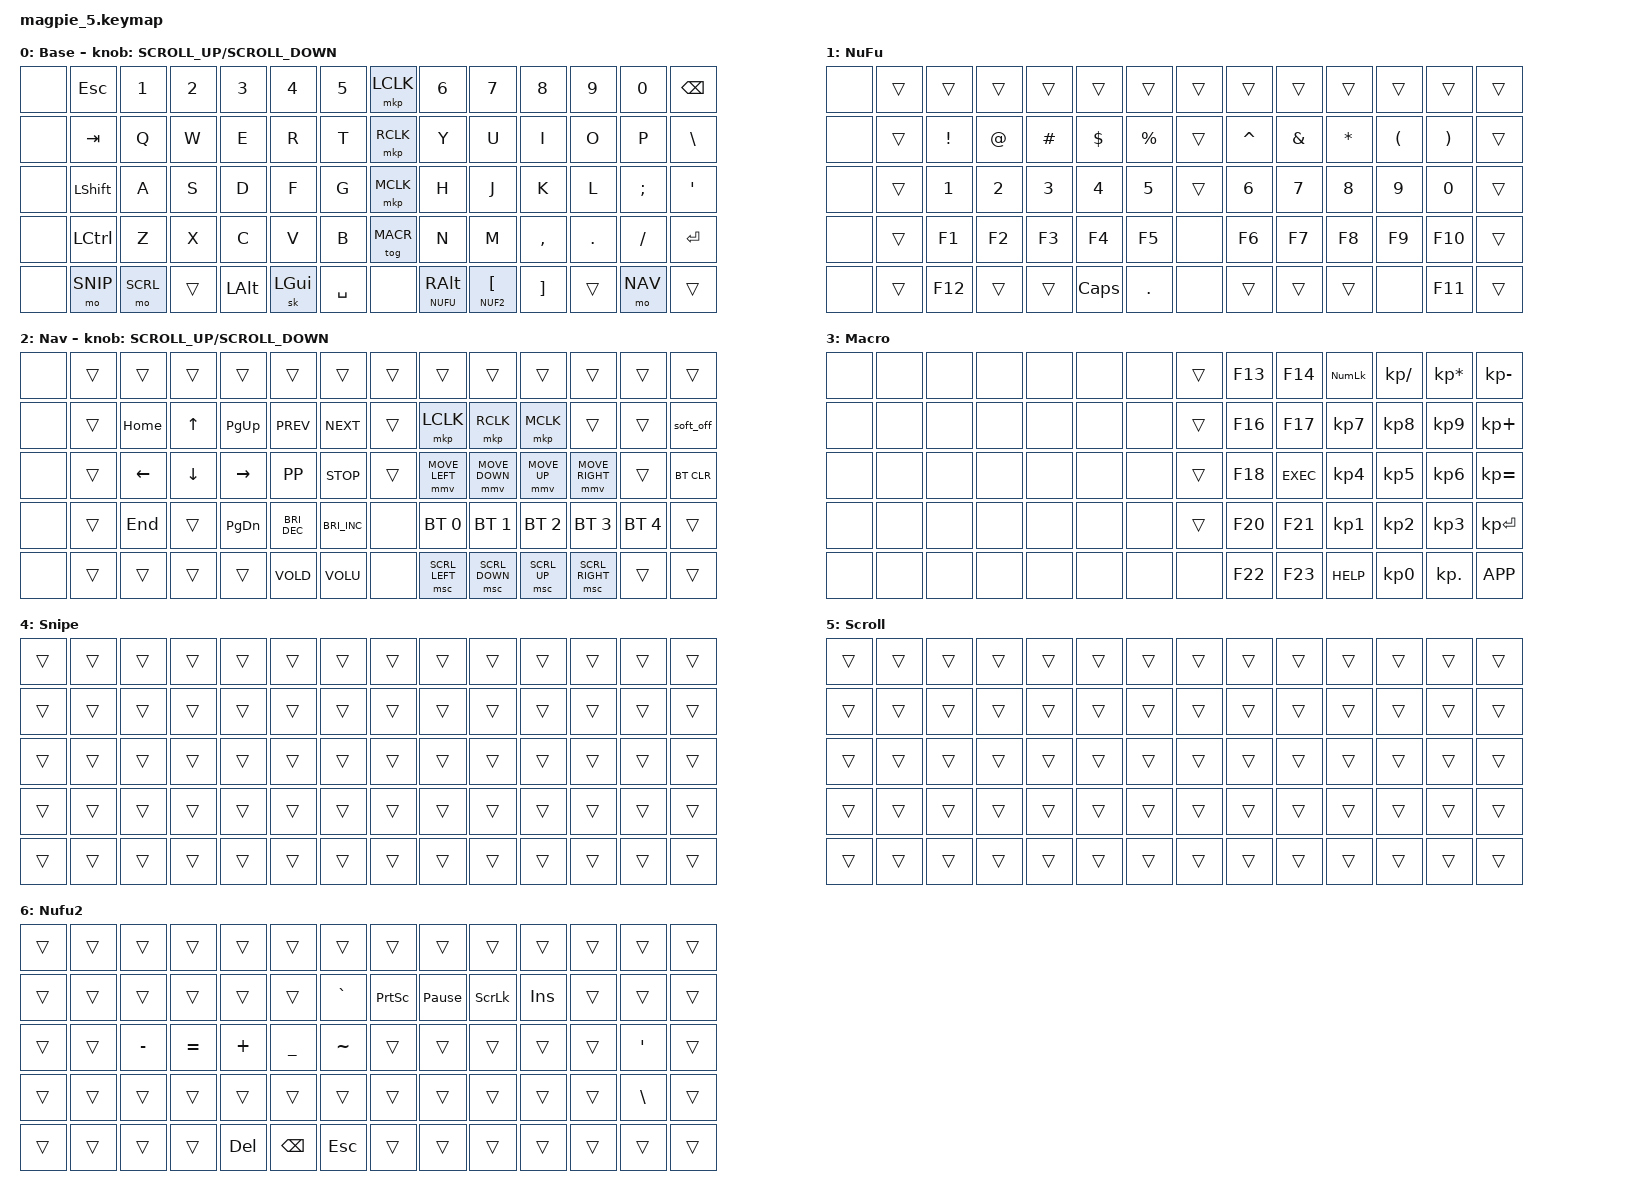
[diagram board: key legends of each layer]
// This file was generated from a template. Edit it to match your keyboard.
// See https://zmk.dev/docs/development/hardware-integration/new-shield for more instructions.


#include <behaviors.dtsi>
#include <dt-bindings/zmk/bt.h>
#include <dt-bindings/zmk/keys.h>

#include <dt-bindings/zmk/mouse.h>
#include <behaviors/mouse_keys.dtsi>

#define BASE 0
#define NUFU 1
#define NAV  2
#define MACR 3
#define SNIP 4
#define SCRL 5
#define NUF2 6

//Shortened key definitions
#define NF1 &lt NUFU RALT
#define NF2 &lt NUF2 LBKT
#define sft &soft_off

#define mlft &mmv MOVE_LEFT
#define mrgt &mmv MOVE_RIGHT
#define mup  &mmv MOVE_UP
#define mdwn &mmv MOVE_DOWN
#define btclr &bt BT_CLR
#define btcall &bt BT_CLR_ALL

#define bt0 &bt BT_SEL 0
#define bt1 &bt BT_SEL 1
#define bt2 &bt BT_SEL 2
#define bt3 &bt BT_SEL 3
#define bt4 &bt BT_SEL 4

#define mscup &msc SCRL_UP
#define mscdn &msc SCRL_DOWN
#define msclft &msc SCRL_LEFT
#define mscrgt &msc SCRL_RIGHT

#define BCKP BACKSPACE
#define DELT DELETE
#define SMCL SEMICOLON
#define COMM COMMA
#define SLSH SLASH
#define ENTR ENTER
#define GRV GRAVE
#define SPCE SPACE

#define PRCN PRCNT
#define CART CARET
#define MINS MINUS
#define EQUL EQUAL
#define UNDR UNDER

#define PEUP PAGE_UP
#define PEDN PAGE_DOWN
#define PREV K_PREV
#define NEXT K_NEXT
#define RGHT RIGHT
#define STOP C_STOP

#define BRDN C_BRI_DEC
#define BRUP C_BRI_INC

&sl {
	release-after-ms = <250>;
};

&mt {
	tapping-term-ms = <200>;
	require-prior-idle-ms = <150>;
};

&msc {
	acceleration-exponent = <1>;      // 0
	time-to-max-speed-ms = <40>;      // 500
	delay-ms = <0>;                   // 10
};

&soft_off {
	hold-time-ms = <2000>; // Only turn off it the key is held for 2 seconds or longer.
};

/ {
	combos
	{
		compatible = "zmk,combos";
		combo_enter {
			timeout-ms = <50>;
			key-positions = <62 64>;
			bindings = <&kp ENTER>;
		};
		combo_alt_enter {
			timeout-ms = <50>;
			key-positions = <60 64>;
			bindings = <&kp LA(ENTER)>;
		};
		combo_tab {
			timeout-ms = <50>;
			key-positions = <33 37>;
			bindings = <&kp TAB>;
		};
		combo_ctrl {
			timeout-ms = <50>;
			key-positions = <30 40>;
			bindings = <&sk LCTRL>;
		};
		combo_shift {
			timeout-ms = <50>;
			key-positions = <31 39>;
			bindings = <&sk LSHFT>;
		};
		combo_alt {
			timeout-ms = <50>;
			key-positions = <32 38>;
			bindings = <&sk LALT>;
		};
	};
	
	keymap {
		compatible = "zmk,keymap";

		Base {
			bindings = <
			&none &kp ESC   &kp N1   &kp N2 &kp N3   &kp N4   &kp N5      &mkp LCLK &kp N6 &kp N7 &kp N8   &kp N9  &kp N0   &kp BCKP
			&none &kp TAB   &kp Q    &kp W  &kp E    &kp R    &kp T       &mkp RCLK &kp Y  &kp U  &kp I    &kp O   &kp P    &kp BSLH
			&none &kp LSHFT &kp A    &kp S  &kp D    &kp F    &kp G       &mkp MCLK &kp H  &kp J  &kp K    &kp L   &kp SMCL &kp APOS
			&none &kp LCTRL &kp Z    &kp X  &kp C    &kp V    &kp B       &tog MACR &kp N  &kp M  &kp COMM &kp DOT &kp SLSH &kp ENTR
			&none &mo SNIP  &mo SCRL &trans &kp LALT &sk LGUI &kp SPCE    &none     NF1    NF2    &kp RBKT &trans     &mo NAV  &trans
			>;
			sensor-bindings = <&inc_dec_kp K_SCROLL_UP K_SCROLL_DOWN>;
		};
		
		NuFu {
			bindings = <
			&none &trans  &trans   &trans &trans   &trans   &trans     &trans &trans   &trans    &trans   &trans   &trans   &trans
			&none &trans  &kp EXCL &kp AT &kp HASH &kp DLLR &kp PRCN   &trans &kp CART &kp AMPS  &kp STAR &kp LPAR &kp RPAR &trans
			&none &trans  &kp N1   &kp N2 &kp N3   &kp N4   &kp N5     &trans &kp N6   &kp N7    &kp N8   &kp N9   &kp N0   &trans
			&none &trans  &kp F1   &kp F2 &kp F3   &kp F4   &kp F5     &none  &kp F6   &kp F7    &kp F8   &kp F9   &kp F10  &trans
			&none &trans  &kp F12  &trans &trans   &kp CAPS &kp DOT    &none  &trans   &trans    &trans   &none    &kp F11  &trans
			>;
		};
		
		Nav {
			bindings = <
			&none &trans &trans   &trans   &trans   &trans   &trans    &trans &trans    &trans    &trans    &trans &trans &trans
			&none &trans &kp HOME &kp UP   &kp PEUP &kp PREV &kp NEXT  &trans &mkp LCLK &mkp RCLK &mkp MCLK &trans &trans sft
			&none &trans &kp LEFT &kp DOWN &kp RGHT &kp K_PP &kp STOP  &trans mlft      mdwn      mup       mrgt   &trans btclr
			&none &trans &kp END  &trans   &kp PEDN &kp BRDN &kp BRUP  &none  bt0       bt1       bt2       bt3    bt4    &trans
			&none &trans &trans   &trans   &trans   &kp VOLD &kp VOLU  &none  msclft    mscdn     mscup     mscrgt &trans &trans
			>;
			sensor-bindings = <&inc_dec_kp K_SCROLL_UP K_SCROLL_DOWN>;
		};
		
		Macro {
			bindings = <
			&none &none &none &none &none &none &none   &trans &kp F13 &kp F14    &kp KP_NUM &kp KP_SLASH &kp KP_MULTIPLY &kp KP_MINUS
			&none &none &none &none &none &none &none   &trans &kp F16 &kp F17    &kp KP_N7  &kp KP_N8    &kp KP_N9       &kp KP_PLUS
			&none &none &none &none &none &none &none   &trans &kp F18 &kp K_EXEC &kp KP_N4  &kp KP_N5    &kp KP_N6       &kp KP_EQUAL
			&none &none &none &none &none &none &none   &trans &kp F20 &kp F21    &kp KP_N1  &kp KP_N2    &kp KP_N3       &kp KP_ENTER
			&none &none &none &none &none &none &none   &none  &kp F22 &kp F23    &kp K_HELP &kp KP_N0    &kp KP_DOT      &kp K_APP
			>;
		};
		
		Snipe {
			bindings = <
			&trans &trans &trans &trans &trans &trans &trans   &trans  &trans &trans &trans &trans &trans &trans
			&trans &trans &trans &trans &trans &trans &trans   &trans  &trans &trans &trans &trans &trans &trans
			&trans &trans &trans &trans &trans &trans &trans   &trans  &trans &trans &trans &trans &trans &trans
			&trans &trans &trans &trans &trans &trans &trans   &trans  &trans &trans &trans &trans &trans &trans
			&trans &trans &trans &trans &trans &trans &trans   &trans  &trans &trans &trans &trans &trans &trans
			>;
		};
		
		Scroll {
			bindings = <
			&trans &trans &trans &trans &trans &trans &trans  &trans  &trans &trans &trans &trans &trans &trans
			&trans &trans &trans &trans &trans &trans &trans  &trans  &trans &trans &trans &trans &trans &trans
			&trans &trans &trans &trans &trans &trans &trans  &trans  &trans &trans &trans &trans &trans &trans
			&trans &trans &trans &trans &trans &trans &trans  &trans  &trans &trans &trans &trans &trans &trans
			&trans &trans &trans &trans &trans &trans &trans  &trans  &trans &trans &trans &trans &trans &trans
			>;
		};
		
		Nufu2 {
			bindings = <
			&trans &trans &trans   &trans   &trans   &trans   &trans     &trans     &trans          &trans   &trans     &trans &trans   &trans
			&trans &trans &trans   &trans   &trans   &trans   &kp GRAVE  &kp PSCRN  &kp PAUSE_BREAK &kp SLCK &kp INSERT &trans &trans   &trans
			&trans &trans &kp MINS &kp EQUL &kp PLUS &kp UNDR &kp TILDE  &trans     &trans          &trans   &trans     &trans &kp APOS &trans
			&trans &trans &trans   &trans   &trans   &trans   &trans     &trans     &trans          &trans   &trans     &trans &kp BSLH &trans
			&trans &trans &trans   &trans   &kp DELT &kp BCKP &kp ESC    &trans     &trans          &trans   &trans     &trans &trans   &trans
			>;
		};
	};
};
